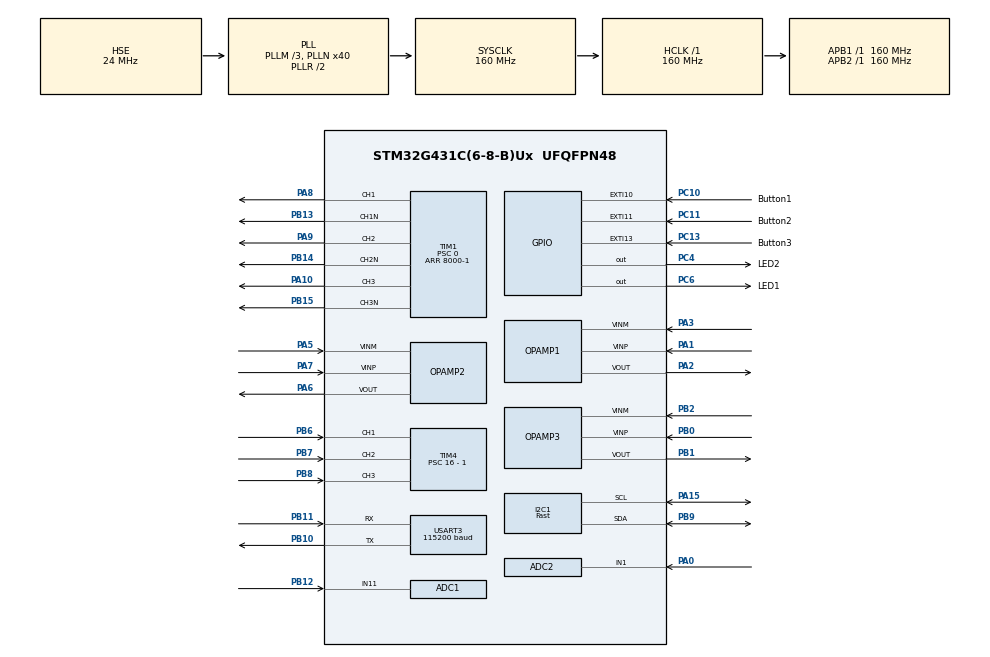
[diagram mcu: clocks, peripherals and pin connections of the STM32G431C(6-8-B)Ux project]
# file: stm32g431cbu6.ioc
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ADC1.Channel-1\#ChannelRegularConversion=ADC_CHANNEL_11
ADC1.ClockPrescaler=ADC_CLOCK_ASYNC_DIV4
ADC1.EnableInjectedConversion=ENABLE
ADC1.ExternalTrigInjecConv=ADC_EXTERNALTRIGINJEC_T1_CC4
ADC1.InjNumberOfConversion=2
ADC1.InjectedChannel-2\#ChannelInjectedConversion=ADC_CHANNEL_3
ADC1.InjectedChannel-3\#ChannelInjectedConversion=ADC_CHANNEL_12
ADC1.InjectedOffsetNumber-2\#ChannelInjectedConversion=ADC_OFFSET_NONE
ADC1.InjectedOffsetNumber-3\#ChannelInjectedConversion=ADC_OFFSET_NONE
ADC1.InjectedRank-2\#ChannelInjectedConversion=1
ADC1.InjectedRank-3\#ChannelInjectedConversion=2
ADC1.InjectedSamplingTime-2\#ChannelInjectedConversion=ADC_SAMPLETIME_6CYCLES_5
ADC1.InjectedSamplingTime-3\#ChannelInjectedConversion=ADC_SAMPLETIME_6CYCLES_5
ADC1.NbrOfConversion=1
ADC1.NbrOfConversionFlag=1
ADC1.OffsetNumber-1\#ChannelRegularConversion=ADC_OFFSET_NONE
ADC1.Rank-1\#ChannelRegularConversion=1
ADC1.SamplingTime-1\#ChannelRegularConversion=ADC_SAMPLETIME_2CYCLES_5
ADC1.master=1
ADC2.Channel-0\#ChannelRegularConversion=ADC_CHANNEL_1
ADC2.ClockPrescaler=ADC_CLOCK_ASYNC_DIV4
ADC2.EnableInjectedConversion=ENABLE
ADC2.ExternalTrigInjecConv=ADC_EXTERNALTRIGINJEC_T1_CC4
ADC2.InjNumberOfConversion=1
ADC2.InjectedChannel-1\#ChannelInjectedConversion=ADC_CHANNEL_3
ADC2.InjectedOffsetNumber-1\#ChannelInjectedConversion=ADC_OFFSET_NONE
ADC2.InjectedRank-1\#ChannelInjectedConversion=1
ADC2.InjectedSamplingTime-1\#ChannelInjectedConversion=ADC_SAMPLETIME_6CYCLES_5
ADC2.NbrOfConversionFlag=1
ADC2.OffsetNumber-0\#ChannelRegularConversion=ADC_OFFSET_NONE
ADC2.Rank-0\#ChannelRegularConversion=1
ADC2.SamplingTime-0\#ChannelRegularConversion=ADC_SAMPLETIME_2CYCLES_5
Dma.Request0=USART3_TX
Dma.USART3_TX.0.Direction=DMA_MEMORY_TO_PERIPH
Dma.USART3_TX.0.EventEnable=DISABLE
Dma.USART3_TX.0.Instance=DMA1_Channel1
Dma.USART3_TX.0.MemDataAlignment=DMA_MDATAALIGN_BYTE
Dma.USART3_TX.0.MemInc=DMA_MINC_ENABLE
Dma.USART3_TX.0.Mode=DMA_NORMAL
Dma.USART3_TX.0.PeriphDataAlignment=DMA_PDATAALIGN_BYTE
Dma.USART3_TX.0.PeriphInc=DMA_PINC_DISABLE
Dma.USART3_TX.0.Polarity=HAL_DMAMUX_REQ_GEN_RISING
Dma.USART3_TX.0.Priority=DMA_PRIORITY_LOW
Dma.USART3_TX.0.RequestNumber=1
Dma.USART3_TX.0.SignalID=NONE
Dma.USART3_TX.0.SyncEnable=DISABLE
Dma.USART3_TX.0.SyncPolarity=HAL_DMAMUX_SYNC_NO_EVENT
Dma.USART3_TX.0.SyncRequestNumber=1
Dma.USART3_TX.0.SyncSignalID=NONE
FREERTOS.Tasks01=defaultTask,24,128,StartDefaultTask,Default,NULL,Dynamic,NULL,NULL
FREERTOS.configENABLE_FPU=1
I2C1.I2C_Speed_Mode=I2C_Fast
I2C1.Timing=0x00F07BFF
Mcu.Family=STM32G4
Mcu.Name=STM32G431C(6-8-B)Ux
Mcu.Package=UFQFPN48
NVIC.ADC1_2_IRQn=true\:5\:0\:false\:false\:true\:true\:true\:true\:true
NVIC.DMA1_Channel1_IRQn=true\:5\:0\:false\:false\:true\:true\:false\:true\:true
NVIC.EXTI15_10_IRQn=true\:3\:0\:true\:false\:true\:true\:true\:true\:true
NVIC.PriorityGroup=NVIC_PRIORITYGROUP_4
NVIC.TIM1_BRK_TIM15_IRQn=true\:1\:0\:true\:false\:true\:true\:true\:true\:true
NVIC.TIM1_UP_TIM16_IRQn=true\:1\:0\:true\:false\:true\:true\:true\:true\:true
NVIC.TIM4_IRQn=true\:1\:0\:true\:false\:true\:true\:true\:true\:true
NVIC.TIM6_DAC_IRQn=true\:5\:0\:false\:false\:true\:true\:true\:true\:true
NVIC.USART3_IRQn=true\:2\:0\:true\:false\:true\:true\:true\:true\:true
PA0.Mode=IN1-Single-Ended
PA0.Signal=ADC2_IN1
PA1.Mode=Standalone
PA1.Signal=OPAMP1_VINP
PA10.Signal=S_TIM1_CH3
PA13.Mode=Serial_Wire
PA13.Signal=SYS_JTMS-SWDIO
PA14.Mode=Serial_Wire
PA14.Signal=SYS_JTCK-SWCLK
PA15.Mode=I2C
PA15.Signal=I2C1_SCL
PA2.Signal=SharedAnalog_PA2
PA3.Mode=Standalone
PA3.Signal=OPAMP1_VINM
PA5.Mode=Standalone
PA5.Signal=OPAMP2_VINM
PA6.Signal=SharedAnalog_PA6
PA7.Mode=Standalone
PA7.Signal=OPAMP2_VINP
PA8.Signal=S_TIM1_CH1
PA9.Signal=S_TIM1_CH2
PB0.Mode=Standalone
PB0.Signal=OPAMP3_VINP
PB1.Signal=SharedAnalog_PB1
PB10.Mode=Asynchronous
PB10.Signal=USART3_TX
PB11.Mode=Asynchronous
PB11.Signal=USART3_RX
PB12.Mode=IN11-Single-Ended
PB12.Signal=ADC1_IN11
PB13.Mode=PWM Generation1 CH1 CH1N
PB13.Signal=TIM1_CH1N
PB14.Mode=PWM Generation2 CH2 CH2N
PB14.Signal=TIM1_CH2N
PB15.Mode=PWM Generation3 CH3 CH3N
PB15.Signal=TIM1_CH3N
PB2.Mode=Standalone
PB2.Signal=OPAMP3_VINM
PB6.Signal=S_TIM4_CH1
PB7.Signal=S_TIM4_CH2
PB8-BOOT0.Signal=S_TIM4_CH3
PB9.Mode=I2C
PB9.Signal=I2C1_SDA
PC10.GPIO_Label=Button1
PC10.Signal=GPXTI10
PC11.GPIO_Label=Button2
PC11.Signal=GPXTI11
PC13.GPIO_Label=Button3
PC13.Signal=GPXTI13
PC4.GPIO_Label=LED2
PC4.Signal=GPIO_Output
PC6.GPIO_Label=LED1
PC6.Signal=GPIO_Output
PF0-OSC_IN.Mode=HSE-External-Oscillator
PF0-OSC_IN.Signal=RCC_OSC_IN
PF1-OSC_OUT.Mode=HSE-External-Oscillator
PF1-OSC_OUT.Signal=RCC_OSC_OUT
ProjectManager.HeapSize=0x200
ProjectManager.StackSize=0x400
ProjectManager.TargetToolchain=MDK-ARM V5.32
RCC.ADC12Freq_Value=160000000
RCC.AHBFreq_Value=160000000
RCC.APB1Freq_Value=160000000
RCC.APB1TimFreq_Value=160000000
RCC.APB2Freq_Value=160000000
RCC.APB2TimFreq_Value=160000000
RCC.CortexFreq_Value=160000000
RCC.EXTERNAL_CLOCK_VALUE=12288000
RCC.HCLKFreq_Value=160000000
RCC.HSE_VALUE=24000000
RCC.HSI48_VALUE=48000000
RCC.HSI_VALUE=16000000
RCC.LSE_VALUE=32768
RCC.PLLM=RCC_PLLM_DIV3
RCC.PLLN=40
RCC.PLLSourceVirtual=RCC_PLLSOURCE_HSE
RCC.SYSCLKFreq_VALUE=160000000
RCC.SYSCLKSource=RCC_SYSCLKSOURCE_PLLCLK
RCC.USBFreq_Value=160000000
RCC.VCOOutputFreq_Value=320000000
SH.S_TIM1_CH1.0=TIM1_CH1,PWM Generation1 CH1 CH1N
SH.S_TIM1_CH2.0=TIM1_CH2,PWM Generation2 CH2 CH2N
SH.S_TIM1_CH3.0=TIM1_CH3,PWM Generation3 CH3 CH3N
SH.S_TIM4_CH1.0=TIM4_CH1,Xored_Inputs_Hall_Sensor_Interface
SH.S_TIM4_CH2.0=TIM4_CH2,Xored_Inputs_Hall_Sensor_Interface
SH.S_TIM4_CH3.0=TIM4_CH3,Xored_Inputs_Hall_Sensor_Interface
SH.SharedAnalog_PA2.0=OPAMP1_VOUT,Standalone
SH.SharedAnalog_PA2.1=ADC1_IN3,IN3-Single-Ended
SH.SharedAnalog_PA6.0=OPAMP2_VOUT,Standalone
SH.SharedAnalog_PA6.1=ADC2_IN3,IN3-Single-Ended
SH.SharedAnalog_PB1.0=COMP1_INP
SH.SharedAnalog_PB1.1=OPAMP3_VOUT,Standalone
SH.SharedAnalog_PB1.2=ADC1_IN12,IN12-Single-Ended
STMicroelectronics.X-CUBE-ALGOBUILD.1.3.0.LibraryCcDSPOoLibraryJjDSPOoLibrary=true
TIM1.BreakFilter=2
TIM1.BreakState=TIM_BREAK_ENABLE
TIM1.Channel-PWM\ Generation1\ CH1\ CH1N=TIM_CHANNEL_1
TIM1.Channel-PWM\ Generation2\ CH2\ CH2N=TIM_CHANNEL_2
TIM1.Channel-PWM\ Generation3\ CH3\ CH3N=TIM_CHANNEL_3
TIM1.Channel-PWM\ Generation4\ No\ Output=TIM_CHANNEL_4
TIM1.ClockDivision=TIM_CLOCKDIVISION_DIV2
TIM1.CounterMode=TIM_COUNTERMODE_CENTERALIGNED1
TIM1.DeadTime=120
TIM1.DeadTimePreload=ENABLE
TIM1.OCMode_PWM-PWM\ Generation4\ No\ Output=TIM_OCMODE_PWM2
TIM1.PeriodNoDither=8000-1
TIM1.Prescaler=0
TIM1.PulseNoDither_4=8000-2
TIM1.RepetitionCounter=1
TIM1.SourceBRKCOMP1=TIM_BREAKINPUTSOURCE_DISABLE
TIM1.TIM_MasterOutputTrigger=TIM_TRGO_OC4REF
TIM4.Commutation_Delay=5
TIM4.IC1Filter=5
TIM4.Prescaler=16 - 1
TIM6.AutoReloadPreload=TIM_AUTORELOAD_PRELOAD_ENABLE
TIM6.PeriodNoDither=32000-1
TIM6.Prescaler=2-1
USART3.BaudRate=115200
USART3.VirtualMode-Asynchronous=VM_ASYNC
VP_FREERTOS_VS_CMSIS_V2.Mode=CMSIS_V2
VP_STMicroelectronics.X-CUBE-ALGOBUILD_VS_DSPOoLibraryJjLibrary_1.3.0_1.3.0.Mode=DSPOoLibraryJjLibrary
VP_SYS_VS_DBSignals.Mode=DisableDeadBatterySignals
VP_TIM1_VS_ClockSourceINT.Mode=Internal
VP_TIM1_VS_no_output4.Mode=PWM Generation4 No Output
VP_TIM6_VS_ClockSourceINT.Mode=Enable_Timer
board=custom

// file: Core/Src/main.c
/* USER CODE BEGIN Header */
/**
 ******************************************************************************
 * @file           : main.c
 * @brief          : Main program body
 ******************************************************************************
 * @attention
 *
 * Copyright (c) 2023 STMicroelectronics.
 * All rights reserved.
 *
 * This software is licensed under terms that can be found in the LICENSE file
 * in the root directory of this software component.
 * If no LICENSE file comes with this software, it is provided AS-IS.
 *
 ******************************************************************************
 */
/* USER CODE END Header */
#include "main.h"
#include "cmsis_os.h"
#include "adc.h"
#include "dma.h"
#include "i2c.h"
#include "opamp.h"
#include "tim.h"
#include "usart.h"
#include "gpio.h"

void SystemClock_Config(void);
void MX_FREERTOS_Init(void);

int main(void)
{

  /* MCU Configuration--------------------------------------------------------*/

  /* Reset of all peripherals, Initializes the Flash interface and the Systick. */
  HAL_Init();

  /* Configure the system clock */
  SystemClock_Config();

  /* Initialize all configured peripherals */
  MX_GPIO_Init();
  MX_DMA_Init();
  MX_USART3_UART_Init();
  MX_ADC1_Init();
  MX_ADC2_Init();
  MX_OPAMP1_Init();
  MX_OPAMP2_Init();
  MX_OPAMP3_Init();
  MX_TIM1_Init();
  MX_TIM4_Init();
  MX_I2C1_Init();
  MX_TIM6_Init();
  /* USER CODE BEGIN 2 */
  HAL_OPAMP_Start(&hopamp1);
  HAL_OPAMP_Start(&hopamp2);
  HAL_OPAMP_Start(&hopamp3);
  // HAL_UART_Receive_IT(&huart3, rxBuffer, RX_CMD_LEN);
  //HAL_UART_Receive_IT(&huart3, (uint8_t *)&aRxBuffer, 1);
  HAL_ADCEx_Calibration_Start(&hadc1, ADC_SINGLE_ENDED);
  HAL_ADCEx_Calibration_Start(&hadc2, ADC_SINGLE_ENDED);
  __HAL_ADC_CLEAR_FLAG(&hadc1, ADC_FLAG_JEOC);
  __HAL_ADC_CLEAR_FLAG(&hadc1, ADC_FLAG_EOC);
  __HAL_ADC_CLEAR_FLAG(&hadc2, ADC_FLAG_JEOC);
  // HAL_ADCEx_InjectedStart_IT(&hadc1);
  // HAL_ADCEx_InjectedStart(&hadc2);
  HAL_TIM_Base_Start(&htim1);
  HAL_TIM_PWM_Start(&htim1, TIM_CHANNEL_4);
  HAL_TIM_PWM_Start(&htim1, TIM_CHANNEL_1);
  HAL_TIM_PWM_Start(&htim1, TIM_CHANNEL_2);
  HAL_TIM_PWM_Start(&htim1, TIM_CHANNEL_3);
  HAL_TIMEx_PWMN_Start(&htim1, TIM_CHANNEL_1);
  HAL_TIMEx_PWMN_Start(&htim1, TIM_CHANNEL_2);
  HAL_TIMEx_PWMN_Start(&htim1, TIM_CHANNEL_3);

  /* USER CODE END 2 */

  /* Init scheduler */
  osKernelInitialize(); /* Call init function for freertos objects (in freertos.c) */
  MX_FREERTOS_Init();

  /* Start scheduler */
  osKernelStart();

  /* We should never get here as control is now taken by the scheduler */
  /* Infinite loop */
  while (1)
  {

  }
}

void SystemClock_Config(void)
{
  RCC_OscInitTypeDef RCC_OscInitStruct = {0};
  RCC_ClkInitTypeDef RCC_ClkInitStruct = {0};

  /** Configure the main internal regulator output voltage
   */
  HAL_PWREx_ControlVoltageScaling(PWR_REGULATOR_VOLTAGE_SCALE1_BOOST);

  /** Initializes the RCC Oscillators according to the specified parameters
   * in the RCC_OscInitTypeDef structure.
   */
  RCC_OscInitStruct.OscillatorType = RCC_OSCILLATORTYPE_HSE;
  RCC_OscInitStruct.HSEState = RCC_HSE_ON;
  RCC_OscInitStruct.PLL.PLLState = RCC_PLL_ON;
  RCC_OscInitStruct.PLL.PLLSource = RCC_PLLSOURCE_HSE;
  RCC_OscInitStruct.PLL.PLLM = RCC_PLLM_DIV3;
  RCC_OscInitStruct.PLL.PLLN = 40;
  RCC_OscInitStruct.PLL.PLLP = RCC_PLLP_DIV2;
  RCC_OscInitStruct.PLL.PLLQ = RCC_PLLQ_DIV2;
  RCC_OscInitStruct.PLL.PLLR = RCC_PLLR_DIV2;
  if (HAL_RCC_OscConfig(&RCC_OscInitStruct) != HAL_OK)
  {
    Error_Handler();
  }

  /** Initializes the CPU, AHB and APB buses clocks
   */
  RCC_ClkInitStruct.ClockType = RCC_CLOCKTYPE_HCLK | RCC_CLOCKTYPE_SYSCLK | RCC_CLOCKTYPE_PCLK1 | RCC_CLOCKTYPE_PCLK2;
  RCC_ClkInitStruct.SYSCLKSource = RCC_SYSCLKSOURCE_PLLCLK;
  RCC_ClkInitStruct.AHBCLKDivider = RCC_SYSCLK_DIV1;
  RCC_ClkInitStruct.APB1CLKDivider = RCC_HCLK_DIV1;
  RCC_ClkInitStruct.APB2CLKDivider = RCC_HCLK_DIV1;

  if (HAL_RCC_ClockConfig(&RCC_ClkInitStruct, FLASH_LATENCY_4) != HAL_OK)
  {
    Error_Handler();
  }
}

/* USER CODE BEGIN 4 */
/******************************************************************************/

/******************************************************************************/

void HAL_GPIO_EXTI_Callback(uint16_t GPIO_Pin)
{
  /* Prevent unused argument(s) compilation warning */
  UNUSED(GPIO_Pin);
  if (Button2_Pin == GPIO_Pin)
  {
    HAL_TIM_PWM_Start(&htim1, TIM_CHANNEL_1);
    HAL_TIM_PWM_Start(&htim1, TIM_CHANNEL_2);
    HAL_TIM_PWM_Start(&htim1, TIM_CHANNEL_3);
    HAL_TIMEx_PWMN_Start(&htim1, TIM_CHANNEL_1);
    HAL_TIMEx_PWMN_Start(&htim1, TIM_CHANNEL_2);
    HAL_TIMEx_PWMN_Start(&htim1, TIM_CHANNEL_3);
  }
  if (Button3_Pin == GPIO_Pin)
  {
    HAL_TIM_PWM_Stop(&htim1, TIM_CHANNEL_1);
    HAL_TIM_PWM_Stop(&htim1, TIM_CHANNEL_2);
    HAL_TIM_PWM_Stop(&htim1, TIM_CHANNEL_3);
    HAL_TIMEx_PWMN_Stop(&htim1, TIM_CHANNEL_1);
    HAL_TIMEx_PWMN_Stop(&htim1, TIM_CHANNEL_2);
    HAL_TIMEx_PWMN_Stop(&htim1, TIM_CHANNEL_3);
  }
  /* NOTE: This function should not be modified, when the callback is needed,
           the HAL_GPIO_EXTI_Callback could be implemented in the user file
   */
}
// MotorMode motorMode;
void HAL_ADCEx_InjectedConvCpltCallback(ADC_HandleTypeDef *hadc) // 10kHz ADC
{
//  static uint8_t cnt;
//  static uint16_t obsever_cnt;
//  /* Prevent unused argument(s) compilation warning */
//  UNUSED(hadc);
//  if (hadc == &hadc1)
//  {
//    if (ADC_offset == 0)
//    {
//      cnt++;
//      adc1_in1 = hadc1.Instance->JDR1;
//      adc1_in2 = hadc2.Instance->JDR1;
//      adc1_in3 = hadc1.Instance->JDR2;
//      IA_Offset += adc1_in1;
//      IB_Offset += adc1_in2;
//      IC_Offset += adc1_in3;
//      if (cnt >= 10)
//      {
//        ADC_offset = 1;
//        IA_Offset = IA_Offset / 10;
//        IB_Offset = IB_Offset / 10;
//        IC_Offset = IC_Offset / 10;
//      }
//      // motorMode = OPEN_LOOP;
//    }
//    else
//    {
//      adc1_in1 = hadc1.Instance->JDR1;
//      adc1_in3 = hadc1.Instance->JDR2;
//      adc1_in2 = hadc2.Instance->JDR1;
//      Ia = (adc1_in1 - IA_Offset) * 0.02197f;
//      Ib = (adc1_in2 - IB_Offset) * 0.02197f;
//      Ic = (adc1_in3 - IC_Offset) * 0.02197f; // 0.02197265625

      // openSpeedLoop(3, 60);
      // closeAngleLoop(target);

//#if SHOW_RCC_DATA
//      temp[0] = Ia;
//      temp[1] = Ib;
//      memcpy(tempData, (uint8_t *)&temp, sizeof(temp));
//      HAL_UART_Transmit_DMA(&huart3, (uint8_t *)tempData, 6 * 4);
//#endif
//    }
//  }
}

// int fputc(int ch, FILE *f)
// {
//   while ((USART3->ISR & 0X40) == 0)
//     ;
//   USART3->TDR = (uint8_t)ch;
//   return ch;
// }
float t;
/* USER CODE END 4 */

void Error_Handler(void)
{
  __disable_irq();
  while (1)
  {
  }
}

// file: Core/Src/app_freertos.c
/* USER CODE BEGIN Header */
/**
 ******************************************************************************
 * File Name          : app_freertos.c
 * Description        : Code for freertos applications
 ******************************************************************************
 * @attention
 *
 * Copyright (c) 2024 STMicroelectronics.
 * All rights reserved.
 *
 * This software is licensed under terms that can be found in the LICENSE file
 * in the root directory of this software component.
 * If no LICENSE file comes with this software, it is provided AS-IS.
 *
 ******************************************************************************
 */
/* USER CODE END Header */

#include "FreeRTOS.h"
#include "task.h"
#include "main.h"
#include "cmsis_os.h"

/* USER CODE BEGIN Includes */
#include "userMain.h"
/* USER CODE END Includes */

/* USER CODE BEGIN PTD */
// osThreadId_t ctrlLoopTaskHandle;
/* USER CODE END PTD */

/* Definitions for defaultTask */
osThreadId_t defaultTaskHandle;
const osThreadAttr_t defaultTask_attributes = {
    .name = "defaultTask",
    .priority = (osPriority_t)osPriorityNormal,
    .stack_size = 128 * 4};

void StartDefaultTask(void *argument);

void MX_FREERTOS_Init(void); /* (MISRA C 2004 rule 8.1) */

void MX_FREERTOS_Init(void)
{

  /* Create the thread(s) */
  /* creation of defaultTask */
  defaultTaskHandle = osThreadNew(StartDefaultTask, NULL, &defaultTask_attributes);

}

void StartDefaultTask(void *argument)
{
  /* USER CODE BEGIN StartDefaultTask */
  userMain();
  vTaskDelete(defaultTaskHandle);
  /* USER CODE END StartDefaultTask */
}
